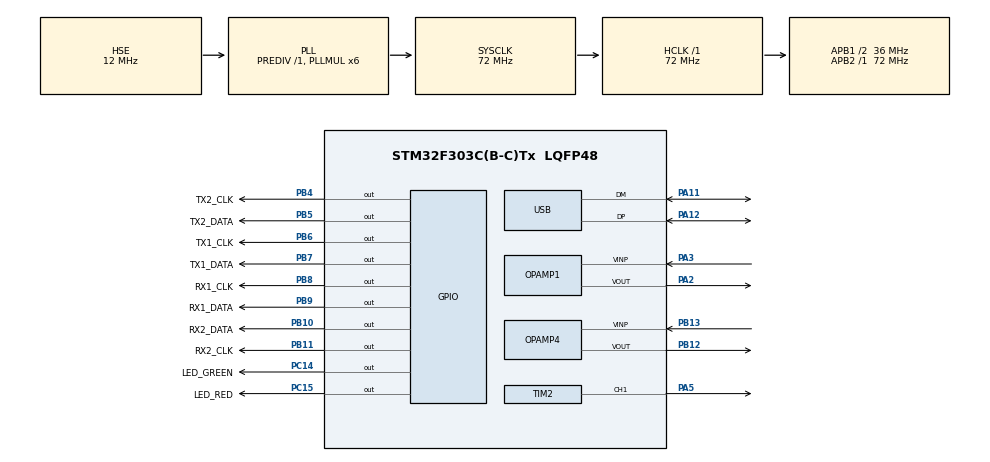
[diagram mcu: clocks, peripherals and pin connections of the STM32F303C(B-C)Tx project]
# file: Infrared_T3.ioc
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ADC1.Channel-0\#ChannelRegularConversion=ADC_CHANNEL_3
ADC1.DMAContinuousRequests=ENABLE
ADC1.ExternalTrigConv=ADC_EXTERNALTRIGCONV_T2_CC2
ADC1.NbrOfConversion=1
ADC1.NbrOfConversionFlag=1
ADC1.Offset-0\#ChannelRegularConversion=0
ADC1.OffsetNumber-0\#ChannelRegularConversion=ADC_OFFSET_NONE
ADC1.Rank-0\#ChannelRegularConversion=1
ADC1.Resolution=ADC_RESOLUTION_8B
ADC1.SamplingTime-0\#ChannelRegularConversion=ADC_SAMPLETIME_1CYCLE_5
ADC1.master=1
ADC4.Channel-0\#ChannelRegularConversion=ADC_CHANNEL_3
ADC4.DMAContinuousRequests=ENABLE
ADC4.ExternalTrigConv=ADC_EXTERNALTRIGCONV_T2_CC3
ADC4.ExternalTrigConvEdge=ADC_EXTERNALTRIGCONVEDGE_FALLING
ADC4.NbrOfConversionFlag=1
ADC4.Offset-0\#ChannelRegularConversion=0
ADC4.OffsetNumber-0\#ChannelRegularConversion=ADC_OFFSET_NONE
ADC4.Rank-0\#ChannelRegularConversion=1
ADC4.Resolution=ADC_RESOLUTION_8B
ADC4.SamplingTime-0\#ChannelRegularConversion=ADC_SAMPLETIME_1CYCLE_5
Dma.ADC1.0.Direction=DMA_PERIPH_TO_MEMORY
Dma.ADC1.0.Instance=DMA1_Channel1
Dma.ADC1.0.MemDataAlignment=DMA_MDATAALIGN_HALFWORD
Dma.ADC1.0.MemInc=DMA_MINC_ENABLE
Dma.ADC1.0.Mode=DMA_CIRCULAR
Dma.ADC1.0.PeriphDataAlignment=DMA_PDATAALIGN_HALFWORD
Dma.ADC1.0.PeriphInc=DMA_PINC_DISABLE
Dma.ADC1.0.Priority=DMA_PRIORITY_HIGH
Dma.ADC4.3.Direction=DMA_PERIPH_TO_MEMORY
Dma.ADC4.3.Instance=DMA2_Channel4
Dma.ADC4.3.MemDataAlignment=DMA_MDATAALIGN_HALFWORD
Dma.ADC4.3.MemInc=DMA_MINC_ENABLE
Dma.ADC4.3.Mode=DMA_CIRCULAR
Dma.ADC4.3.PeriphDataAlignment=DMA_PDATAALIGN_HALFWORD
Dma.ADC4.3.PeriphInc=DMA_PINC_DISABLE
Dma.ADC4.3.Priority=DMA_PRIORITY_HIGH
Dma.Request0=ADC1
Dma.Request1=TIM8_CH1
Dma.Request2=TIM8_CH2
Dma.Request3=ADC4
Dma.Request4=TIM8_CH3/UP
Dma.Request5=TIM8_CH4/TRIG/COM
Dma.TIM8_CH1.1.Direction=DMA_MEMORY_TO_PERIPH
Dma.TIM8_CH1.1.Instance=DMA2_Channel3
Dma.TIM8_CH1.1.MemDataAlignment=DMA_MDATAALIGN_WORD
Dma.TIM8_CH1.1.MemInc=DMA_MINC_ENABLE
Dma.TIM8_CH1.1.Mode=DMA_CIRCULAR
Dma.TIM8_CH1.1.PeriphDataAlignment=DMA_PDATAALIGN_WORD
Dma.TIM8_CH1.1.PeriphInc=DMA_PINC_DISABLE
Dma.TIM8_CH1.1.Priority=DMA_PRIORITY_LOW
Dma.TIM8_CH2.2.Direction=DMA_MEMORY_TO_PERIPH
Dma.TIM8_CH2.2.Instance=DMA2_Channel5
Dma.TIM8_CH2.2.MemDataAlignment=DMA_MDATAALIGN_WORD
Dma.TIM8_CH2.2.MemInc=DMA_MINC_ENABLE
Dma.TIM8_CH2.2.Mode=DMA_CIRCULAR
Dma.TIM8_CH2.2.PeriphDataAlignment=DMA_PDATAALIGN_WORD
Dma.TIM8_CH2.2.PeriphInc=DMA_PINC_DISABLE
Dma.TIM8_CH2.2.Priority=DMA_PRIORITY_LOW
Dma.TIM8_CH3/UP.4.Direction=DMA_MEMORY_TO_PERIPH
Dma.TIM8_CH3/UP.4.Instance=DMA2_Channel1
Dma.TIM8_CH3/UP.4.MemDataAlignment=DMA_MDATAALIGN_WORD
Dma.TIM8_CH3/UP.4.MemInc=DMA_MINC_ENABLE
Dma.TIM8_CH3/UP.4.Mode=DMA_CIRCULAR
Dma.TIM8_CH3/UP.4.PeriphDataAlignment=DMA_PDATAALIGN_WORD
Dma.TIM8_CH3/UP.4.PeriphInc=DMA_PINC_DISABLE
Dma.TIM8_CH3/UP.4.Priority=DMA_PRIORITY_LOW
Dma.TIM8_CH4/TRIG/COM.5.Direction=DMA_MEMORY_TO_PERIPH
Dma.TIM8_CH4/TRIG/COM.5.Instance=DMA2_Channel2
Dma.TIM8_CH4/TRIG/COM.5.MemDataAlignment=DMA_MDATAALIGN_WORD
Dma.TIM8_CH4/TRIG/COM.5.MemInc=DMA_MINC_ENABLE
Dma.TIM8_CH4/TRIG/COM.5.Mode=DMA_CIRCULAR
Dma.TIM8_CH4/TRIG/COM.5.PeriphDataAlignment=DMA_PDATAALIGN_WORD
Dma.TIM8_CH4/TRIG/COM.5.PeriphInc=DMA_PINC_DISABLE
Dma.TIM8_CH4/TRIG/COM.5.Priority=DMA_PRIORITY_LOW
Mcu.Family=STM32F3
Mcu.Name=STM32F303C(B-C)Tx
Mcu.Package=LQFP48
NVIC.ADC1_2_IRQn=true\:0\:0\:false\:false\:true\:true\:true
NVIC.ADC4_IRQn=true\:0\:0\:false\:false\:true\:true\:true
NVIC.DMA1_Channel1_IRQn=true\:0\:0\:false\:false\:true\:false\:true
NVIC.DMA2_Channel1_IRQn=true\:0\:0\:false\:false\:true\:false\:true
NVIC.DMA2_Channel2_IRQn=true\:0\:0\:false\:false\:true\:false\:true
NVIC.DMA2_Channel3_IRQn=true\:0\:0\:false\:false\:true\:false\:true
NVIC.DMA2_Channel4_IRQn=true\:0\:0\:false\:false\:true\:false\:true
NVIC.DMA2_Channel5_IRQn=true\:0\:0\:false\:false\:true\:false\:true
NVIC.PriorityGroup=NVIC_PRIORITYGROUP_4
NVIC.USB_HP_CAN_TX_IRQn=true\:0\:0\:false\:false\:true\:true\:true
NVIC.USB_LP_CAN_RX0_IRQn=true\:0\:0\:false\:false\:true\:true\:true
PA11.Mode=Device
PA11.Signal=USB_DM
PA12.Mode=Device
PA12.Signal=USB_DP
PA13.Mode=Serial_Wire
PA13.Signal=SYS_JTMS-SWDIO
PA14.Mode=Serial_Wire
PA14.Signal=SYS_JTCK-SWCLK
PA2.Mode=Follower
PA2.Signal=OPAMP1_VOUT
PA3.Mode=Follower
PA3.Signal=OPAMP1_VINP
PA5.Signal=S_TIM2_CH1_ETR
PB10.GPIO_Label=RX2_DATA
PB10.GPIO_Speed=GPIO_SPEED_FREQ_HIGH
PB10.Signal=GPIO_Output
PB11.GPIO_Label=RX2_CLK
PB11.GPIO_Speed=GPIO_SPEED_FREQ_HIGH
PB11.Signal=GPIO_Output
PB12.Mode=Follower
PB12.Signal=OPAMP4_VOUT
PB13.Mode=Follower
PB13.Signal=OPAMP4_VINP
PB4.GPIO_Label=TX2_CLK
PB4.GPIO_Speed=GPIO_SPEED_FREQ_HIGH
PB4.Signal=GPIO_Output
PB5.GPIO_Label=TX2_DATA
PB5.GPIO_Speed=GPIO_SPEED_FREQ_HIGH
PB5.Signal=GPIO_Output
PB6.GPIO_FM6=SYSCFG_CFGR1_I2C_PB6_FMP
PB6.GPIO_Label=TX1_CLK
PB6.GPIO_Speed=GPIO_SPEED_FREQ_HIGH
PB6.Signal=GPIO_Output
PB7.GPIO_FM7=SYSCFG_CFGR1_I2C_PB7_FMP
PB7.GPIO_Label=TX1_DATA
PB7.GPIO_Speed=GPIO_SPEED_FREQ_HIGH
PB7.Signal=GPIO_Output
PB8.GPIO_FM8=SYSCFG_CFGR1_I2C_PB8_FMP
PB8.GPIO_Label=RX1_CLK
PB8.GPIO_Speed=GPIO_SPEED_FREQ_HIGH
PB8.Signal=GPIO_Output
PB9.GPIO_FM9=SYSCFG_CFGR1_I2C_PB9_FMP
PB9.GPIO_Label=RX1_DATA
PB9.GPIO_Speed=GPIO_SPEED_FREQ_HIGH
PB9.Signal=GPIO_Output
PC14-OSC32_IN.GPIO_Label=LED_GREEN
PC14-OSC32_IN.PinState=GPIO_PIN_SET
PC14-OSC32_IN.Signal=GPIO_Output
PC15-OSC32_OUT.GPIO_Label=LED_RED
PC15-OSC32_OUT.PinState=GPIO_PIN_SET
PC15-OSC32_OUT.Signal=GPIO_Output
PF0-OSC_IN.Mode=HSE-External-Oscillator
PF0-OSC_IN.Signal=RCC_OSC_IN
PF1-OSC_OUT.Mode=HSE-External-Oscillator
PF1-OSC_OUT.Signal=RCC_OSC_OUT
ProjectManager.HeapSize=0x800
ProjectManager.StackSize=0x1000
ProjectManager.TargetToolchain=MDK-ARM V5
RCC.AHBFreq_Value=72000000
RCC.APB1CLKDivider=RCC_HCLK_DIV2
RCC.APB1Freq_Value=36000000
RCC.APB1TimFreq_Value=72000000
RCC.APB2Freq_Value=72000000
RCC.APB2TimFreq_Value=72000000
RCC.CortexFreq_Value=72000000
RCC.HCLKFreq_Value=72000000
RCC.HSE_VALUE=12000000
RCC.HSI_VALUE=8000000
RCC.LSE_VALUE=32768
RCC.PLLMUL=RCC_PLL_MUL6
RCC.PRESCALERUSB=RCC_USBCLKSOURCE_PLL_DIV1_5
RCC.SYSCLKFreq_VALUE=72000000
RCC.SYSCLKSourceVirtual=RCC_SYSCLKSOURCE_PLLCLK
RCC.USBFreq_Value=48000000
SH.S_TIM2_CH1_ETR.0=TIM2_CH1,PWM Generation1 CH1
TIM2.AutoReloadPreload=TIM_AUTORELOAD_PRELOAD_ENABLE
TIM2.Channel-PWM\ Generation1\ CH1=TIM_CHANNEL_1
TIM2.Channel-PWM\ Generation2\ No\ Output=TIM_CHANNEL_2
TIM2.Channel-PWM\ Generation3\ No\ Output=TIM_CHANNEL_3
TIM2.Period=90-1
TIM2.Prescaler=2-1
TIM2.Pulse-PWM\ Generation1\ CH1=40
TIM2.Pulse-PWM\ Generation2\ No\ Output=40
TIM2.Pulse-PWM\ Generation3\ No\ Output=40
TIM8.Channel-PWM\ Generation1\ No\ Output=TIM_CHANNEL_1
TIM8.Channel-PWM\ Generation2\ No\ Output=TIM_CHANNEL_2
TIM8.Period=90-1
TIM8.Prescaler=2-1
TIM8.Pulse-PWM\ Generation1\ No\ Output=30
TIM8.Pulse-PWM\ Generation2\ No\ Output=70
TIM8.TIM_MasterOutputTrigger=TIM_TRGO_ENABLE
TIM8.TIM_MasterOutputTrigger2=TIM_TRGO2_ENABLE
TIM8.TIM_MasterSlaveMode=TIM_MASTERSLAVEMODE_ENABLE
USB_DEVICE.CLASS_NAME_FS=CDC
USB_DEVICE.VirtualMode=Cdc
USB_DEVICE.VirtualModeFS=Cdc_FS
VP_ADC1_OPAMP_OUT1.Mode=IN3-OPAMP1-Single-Ended
VP_ADC4_OPAMP_OUT4.Mode=IN3-OPAMP4-Single-Ended
VP_CRC_VS_CRC.Mode=CRC_Activate
VP_TIM2_VS_ClockSourceINT.Mode=Internal
VP_TIM2_VS_ClockSourceITR.Mode=TriggerSource_ITR1
VP_TIM2_VS_ControllerModeTrigger.Mode=Trigger Mode
VP_TIM2_VS_no_output2.Mode=PWM Generation2 No Output
VP_TIM2_VS_no_output3.Mode=PWM Generation3 No Output
VP_TIM8_VS_ClockSourceINT.Mode=Internal
VP_TIM8_VS_no_output1.Mode=PWM Generation1 No Output
VP_TIM8_VS_no_output2.Mode=PWM Generation2 No Output
VP_USB_DEVICE_VS_USB_DEVICE_CDC_FS.Mode=CDC_FS
board=custom

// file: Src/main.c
/* USER CODE BEGIN Header */
/**
  ******************************************************************************
  * @file           : main.c
  * @brief          : Main program body
  ******************************************************************************
  * @attention
  *
  * <h2><center>&copy; Copyright (c) 2019 STMicroelectronics.
  * All rights reserved.</center></h2>
  *
  * This software component is licensed by ST under Ultimate Liberty license
  * SLA0044, the "License"; You may not use this file except in compliance with
  * the License. You may obtain a copy of the License at:
  *                             www.st.com/SLA0044
  *
  ******************************************************************************
  */
/* USER CODE END Header */

#include "main.h"
#include "adc.h"
#include "crc.h"
#include "dma.h"
#include "opamp.h"
#include "tim.h"
#include "usb_device.h"
#include "gpio.h"

/* USER CODE BEGIN Includes */
#include "Algorithm.h"
#include "Logic.h"
#include "protocol_interface_ext.h"
#include "sys_param.h"
/* USER CODE END Includes */

/* USER CODE BEGIN PV */
int16_t ADC_Buff_X[2][MAXLENG]={0};                   //ADC_Buff_X
int16_t ADC_Buff_Y[2][MAXLENG]={0};                   //ADC_Buff_Y
uint32_t Switch_DATA[MAXLENG]={0};
uint32_t Switch_CLK[MAXLENG]={0};
float   Result_Buff_X[MAX_ScanTime + 1][MAXLENG]={0};     //result buff
float   Result_Buff_Y[MAX_ScanTime + 1][MAXLENG]={0};     //result buff
float   ADC_Offset_X[XLENGTH]={0};                    //ADC_Base 1 / no shielding ADC value
float   ADC_Offset_Y[YLENGTH]={0};                    //ADC_Base 1 / no shielding ADC value
uint8_t Tigger_X;
uint8_t Tigger_Y;
volatile uint8_t System_Flag_X = 0;          //System State
volatile uint8_t System_Flag_Y = 0;          //System State

float X_Coordinate;
float Y_Coordinate;
/* USER CODE END PV */

void SystemClock_Config(void);

int main(void)
{
  /* USER CODE BEGIN 1 */
//  int i=0;
  /* USER CODE END 1 */

  /* MCU Configuration--------------------------------------------------------*/

  /* Reset of all peripherals, Initializes the Flash interface and the Systick. */
  HAL_Init();

  /* Configure the system clock */
  SystemClock_Config();

  /* USER CODE BEGIN SysInit */
  // sys_param_init();
  protocol_ext_interface_init();
  /* USER CODE END SysInit */

  /* Initialize all configured peripherals */
  MX_GPIO_Init();
  MX_DMA_Init();
  MX_ADC1_Init();
  MX_ADC4_Init();
  MX_OPAMP1_Init();
  MX_OPAMP4_Init();
  MX_TIM2_Init();
  MX_TIM8_Init();
  MX_USB_DEVICE_Init();
  MX_CRC_Init();
  /* USER CODE BEGIN 2 */
    HAL_GPIO_WritePin(LED_GREEN_GPIO_Port , LED_GREEN_Pin , GPIO_PIN_SET);
    HAL_GPIO_WritePin(LED_RED_GPIO_Port   , LED_RED_Pin   , GPIO_PIN_SET);
    HAL_OPAMP_Start(&hopamp1);
    HAL_OPAMP_Start(&hopamp4);
	HAL_TIM_Base_Stop(&htim8);
	HAL_TIM_Base_Stop(&htim2);
	__HAL_TIM_SET_COUNTER(&htim8,0);
	__HAL_TIM_SET_COUNTER(&htim2,0);
	HAL_Delay(500);

	IR_PT_SysInit();

	HAL_DMA_Start(&hdma_tim8_ch1,(uint32_t)Switch_DATA ,(uint32_t)&GPIOB->BSRR,MAXLENG);
    __HAL_TIM_ENABLE_DMA(&htim8, TIM_DMA_CC1);
	HAL_DMA_Start(&hdma_tim8_ch2,(uint32_t)Switch_CLK,(uint32_t)&GPIOB->BSRR,MAXLENG);
	__HAL_TIM_ENABLE_DMA(&htim8, TIM_DMA_CC2);

	TIM_CCxChannelCmd(htim8.Instance, TIM_CHANNEL_1,TIM_CCx_ENABLE); //
	TIM_CCxChannelCmd(htim8.Instance, TIM_CHANNEL_2,TIM_CCx_ENABLE);
	HAL_ADC_Start_DMA(&hadc4,(uint32_t *)ADC_Buff_Y,MAXLENG * 2);
	HAL_ADC_Start_DMA(&hadc1,(uint32_t *)ADC_Buff_X,MAXLENG * 2);

	HAL_TIM_PWM_Start(&htim8,TIM_CHANNEL_1);//
	HAL_TIM_PWM_Start(&htim8,TIM_CHANNEL_2);
//  while(i<15)
//	{i++;}
	HAL_TIM_PWM_Start(&htim2,TIM_CHANNEL_3);//ADC4
//	HAL_TIM_PWM_Start(&htim2,TIM_CHANNEL_1);
	HAL_TIM_PWM_Start(&htim2,TIM_CHANNEL_2);	//ADC1

	HAL_Delay(100);
	MathBase_initialization();
	ADC_Base_Calculation(&System_Flag_X,ADC_Buff_X,ADC_Offset_X,XLENGTH);//计算没有遮挡的adc数据 方便后续对比
  ADC_Base_Calculation(&System_Flag_Y,ADC_Buff_Y,ADC_Offset_Y,YLENGTH);//计算没有遮挡的adc数据 方便后续对比
  /* USER CODE END 2 */

  /* Infinite loop */
  while (1)
  {
    protocol_ext_interface_loop();
    /* USER CODE BEGIN 3 */
		if(Tigger_X>0 && Tigger_Y>0)
		{
			ADC_Axis_calculation(&System_Flag_X,Result_Buff_X,&X_Coordinate,&Tigger_X,XLENGTH);
			ADC_Axis_calculation(&System_Flag_Y,Result_Buff_Y,&Y_Coordinate,&Tigger_Y,YLENGTH);
			Coordinate_Send(&System_Flag_X,&System_Flag_Y,X_Coordinate,Y_Coordinate,&Tigger_X,&Tigger_Y);
			HAL_Delay(20);
		}
  }
  /* USER CODE END 3 */
}

void SystemClock_Config(void)
{
  RCC_OscInitTypeDef RCC_OscInitStruct = {0};
  RCC_ClkInitTypeDef RCC_ClkInitStruct = {0};
  RCC_PeriphCLKInitTypeDef PeriphClkInit = {0};

  /** Initializes the CPU, AHB and APB busses clocks
  */
  RCC_OscInitStruct.OscillatorType = RCC_OSCILLATORTYPE_HSE;
  RCC_OscInitStruct.HSEState = RCC_HSE_ON;
  RCC_OscInitStruct.HSEPredivValue = RCC_HSE_PREDIV_DIV1;
  RCC_OscInitStruct.HSIState = RCC_HSI_ON;
  RCC_OscInitStruct.PLL.PLLState = RCC_PLL_ON;
  RCC_OscInitStruct.PLL.PLLSource = RCC_PLLSOURCE_HSE;
  RCC_OscInitStruct.PLL.PLLMUL = RCC_PLL_MUL6;
  if (HAL_RCC_OscConfig(&RCC_OscInitStruct) != HAL_OK)
  {
    Error_Handler();
  }
  /** Initializes the CPU, AHB and APB busses clocks
  */
  RCC_ClkInitStruct.ClockType = RCC_CLOCKTYPE_HCLK|RCC_CLOCKTYPE_SYSCLK
                              |RCC_CLOCKTYPE_PCLK1|RCC_CLOCKTYPE_PCLK2;
  RCC_ClkInitStruct.SYSCLKSource = RCC_SYSCLKSOURCE_PLLCLK;
  RCC_ClkInitStruct.AHBCLKDivider = RCC_SYSCLK_DIV1;
  RCC_ClkInitStruct.APB1CLKDivider = RCC_HCLK_DIV2;
  RCC_ClkInitStruct.APB2CLKDivider = RCC_HCLK_DIV1;

  if (HAL_RCC_ClockConfig(&RCC_ClkInitStruct, FLASH_LATENCY_2) != HAL_OK)
  {
    Error_Handler();
  }
  PeriphClkInit.PeriphClockSelection = RCC_PERIPHCLK_USB|RCC_PERIPHCLK_TIM8
                              |RCC_PERIPHCLK_ADC12|RCC_PERIPHCLK_ADC34;
  PeriphClkInit.Adc12ClockSelection = RCC_ADC12PLLCLK_DIV1;
  PeriphClkInit.Adc34ClockSelection = RCC_ADC34PLLCLK_DIV1;
  PeriphClkInit.USBClockSelection = RCC_USBCLKSOURCE_PLL_DIV1_5;
  PeriphClkInit.Tim8ClockSelection = RCC_TIM8CLK_HCLK;
  if (HAL_RCCEx_PeriphCLKConfig(&PeriphClkInit) != HAL_OK)
  {
    Error_Handler();
  }
}

/* USER CODE BEGIN 4 */
void HAL_ADC_ConvHalfCpltCallback(ADC_HandleTypeDef* hadc)
{
	  if (hadc->Instance == ADC4)
        ADC_Touch_Calculation(&System_Flag_X,ADC_Buff_X[0],1,Result_Buff_X,ADC_Offset_X,&Tigger_X,XLENGTH);

		if (hadc->Instance == ADC1)
			  ADC_Touch_Calculation(&System_Flag_Y,ADC_Buff_Y[0],1,Result_Buff_Y,ADC_Offset_Y,&Tigger_Y,YLENGTH);
}
void HAL_ADC_ConvCpltCallback(ADC_HandleTypeDef* hadc)
{
	  if (hadc->Instance == ADC4)
        ADC_Touch_Calculation(&System_Flag_X,ADC_Buff_X[1],1,Result_Buff_X,ADC_Offset_X,&Tigger_X,XLENGTH);

		if (hadc->Instance == ADC1)
			  ADC_Touch_Calculation(&System_Flag_Y,ADC_Buff_Y[1],1,Result_Buff_Y,ADC_Offset_Y,&Tigger_Y,YLENGTH);

}

/* USER CODE END 4 */

void Error_Handler(void)
{
}

/************************ (C) COPYRIGHT STMicroelectronics *****END OF FILE****/
